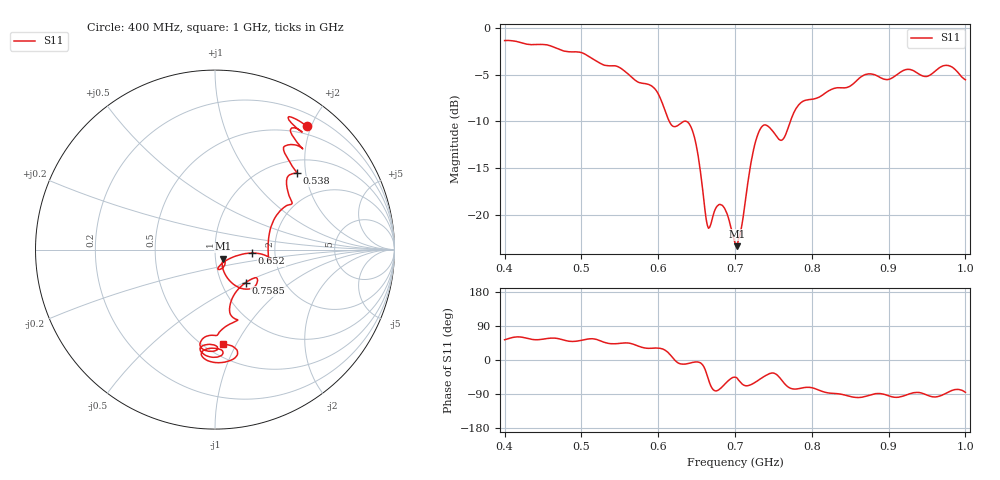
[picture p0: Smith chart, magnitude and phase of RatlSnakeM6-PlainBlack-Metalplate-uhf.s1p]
! NanoVNA-App
! Date: 2026-05-22 19:39:37
! Start: 400MHz Stop: 1GHz Points: 401
! S-Parameter data: F S11
# Hz S RI R 50
!  Frequency  S11_Real  S11_Imag
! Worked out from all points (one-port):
!   401 points, 400 MHz to 1 GHz, reference 50 ohm
!   lowest |S11| = -23.4 dB at 703 MHz (marker M1), VSWR 1.15, Z = 54.4 - j5.53 ohm
!   |S11| at or under -10 dB: 614.4 MHz to 633.7 MHz (19.35 MHz wide, 3.1 % of centre); 636.2 MHz to 772.1 MHz (136 MHz wide, 19.3 % of centre)
!   S11 on the Smith chart (normalised r, x): 400 MHz: 0.38, +1.93; 538 MHz: 1.27, +1.79; 652 MHz: 1.52, -0.06; 758.5 MHz: 1.30, -0.51; 1 GHz: 0.61, -0.88
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4e8  0.5105 0.6868
4.18e8  0.4077 0.7361
4.75e8  0.4477 0.6116
4.915e8  0.4859 0.5647
5.155e8  0.3817 0.5623
5.38e8  0.4578 0.4282
5.5e8  0.4412 0.425
6.01e8  0.3729 0.2252
6.25e8  0.2972 -0.0335
6.4e8  0.3046 -0.0467
6.52e8  0.2058 -0.0195
6.655e8  0.0519 -0.0666
6.82e8  0.0322 -0.1081
7e8  0.0495 -0.0501
7.03e8  0.0451 -0.0505
7.3e8  0.1589 -0.2191
7.45e8  0.2374 -0.1713
7.585e8  0.1703 -0.1845
7.75e8  0.0811 -0.33
7.99e8  0.1229 -0.3952
8.5e8  -0.0533 -0.4853
8.875e8  0.0141 -0.5473
9.115e8  -0.0823 -0.5582
9.25e8  -0.00977 -0.6002
9.385e8  0.0432 -0.5679
9.61e8  -0.0771 -0.5836
9.865e8  0.1247 -0.5867
1e9  0.0441 -0.5259
